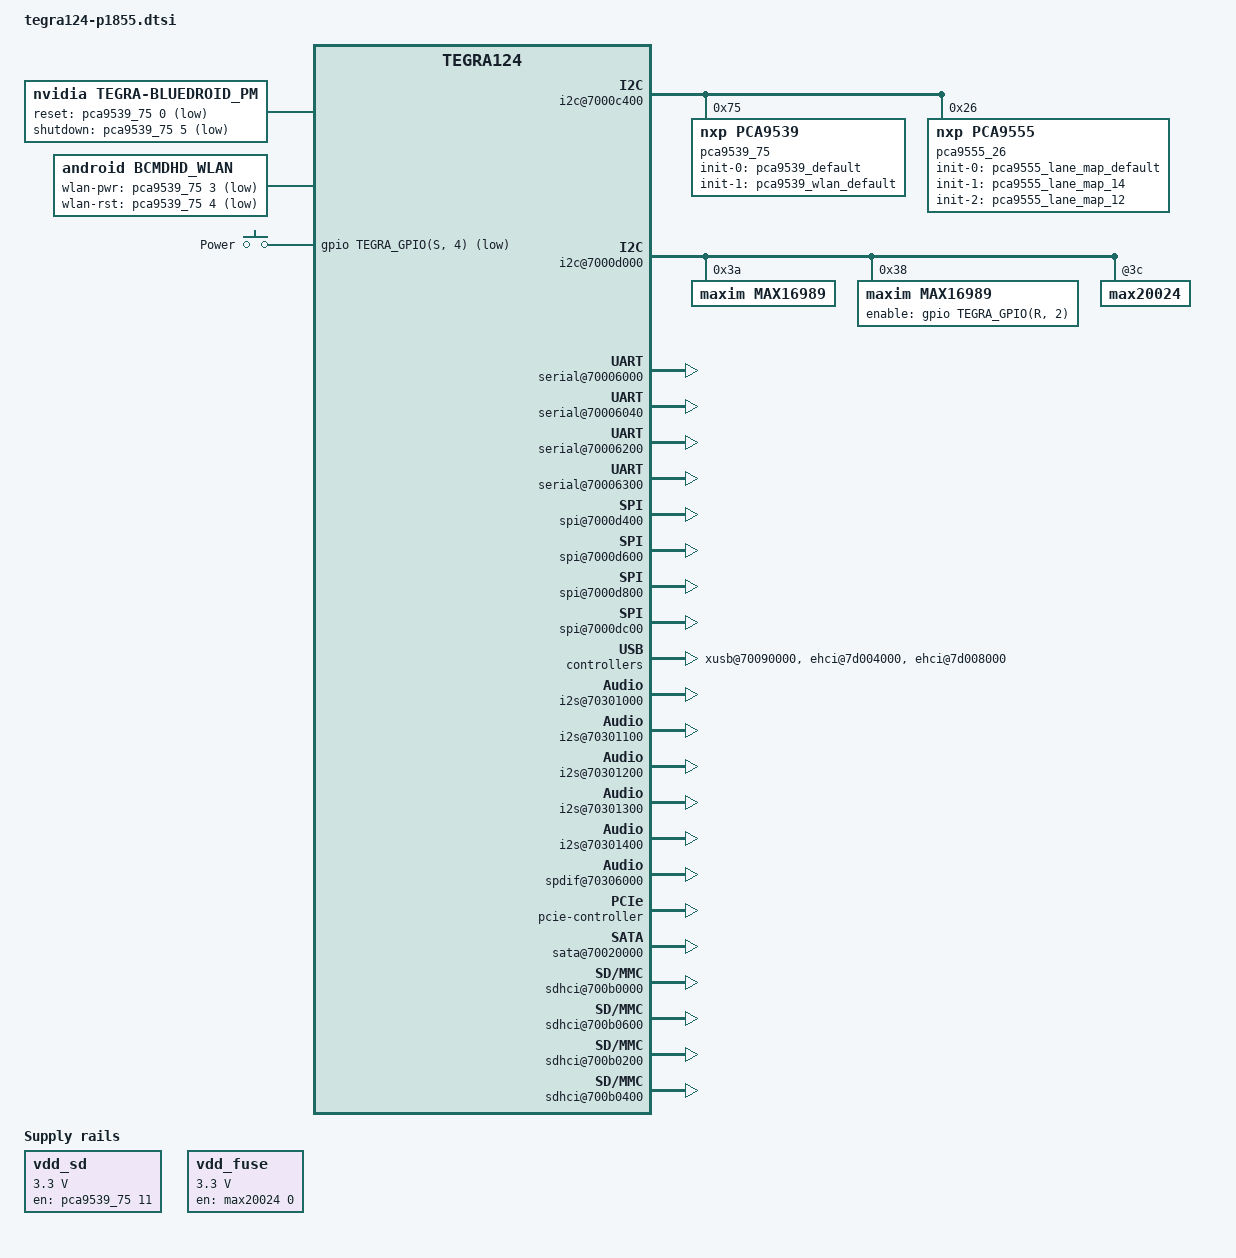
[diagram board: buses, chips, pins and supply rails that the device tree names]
/*
 * arch/arm/boot/dts/tegra124-p1855.dtsi
 *
 * Copyright (c) 2013-2015, NVIDIA CORPORATION.  All rights reserved.
 *
 * This program is free software; you can redistribute it and/or modify
 * it under the terms of the GNU General Public License as published by
 * the Free Software Foundation; version 2 of the License.
 *
 * This program is distributed in the hope that it will be useful, but WITHOUT
 * ANY WARRANTY; without even the implied warranty of MERCHANTABILITY or
 * FITNESS FOR A PARTICULAR PURPOSE.  See the GNU General Public License for
 * more details.
 *
 * You should have received a copy of the GNU General Public License along
 * with this program; if not, write to the Free Software Foundation, Inc.,
 * 51 Franklin Street, Fifth Floor, Boston, MA  02110-1301, USA.
 *
 */

#include "tegra124-vcm30_t124.dtsi"
#include <tegra124-platforms/tegra124-p1855-gpio-default.dtsi>
#include <panel-a-edp-1080p-14-0.dtsi>
#include <tegra124-platforms/tegra124-vcm30-t124-hdmi.dtsi>
#include <tegra124-platforms/tegra124-pmic-vcm30t124-max20024.dtsi>

/ {
	#address-cells = <2>;
	#size-cells = <2>;

	host1x {
		sor {
			status = "okay";
			panel-a-edp-1080p-14-0 {
				disp-default-out {
					nvidia,out-max-pixclk = <3367>;
					nvidia,dither = <TEGRA_DC_ORDERED_DITHER>;
					nvidia,out-depth = <0>; /* let EDID set */
				};
			};
		};

		dpaux {
			status = "okay";
		};

		/* tegradc.0 */
		dc@54200000 {
			nvidia,dc-flags = <TEGRA_DC_FLAG_ENABLED>;
			nvidia,emc-clk-rate = <204000000>;
			nvidia,fb-bpp = <32>; /* bits per pixel */
			nvidia,cmu-enable = <1>;
			status = "okay";
		};

		/* tegradc.1 */
		dc@54240000 {
			nvidia,emc-clk-rate = <300000000>;
			nvidia,fb-bpp = <32>; /* bits per pixel */
			status = "okay";
		};
	};

	i2c@7000c400 {
		nvidia,clock-always-on;

		pca9539_75: pca9546@75 {
			compatible = "nxp,pca9539";
			gpio-controller;
			#gpio-cells = <2>;
			reg = <0x75>;
			gpio-init-names = "default", "wlan-default";
			gpio-init-0 = <&pca9539_default>;
			gpio-init-1 = <&pca9539_wlan_default>;
			pca9539_default: default {
				gpio-output-low = <4>;
				gpio-output-high = <0 3 5 7 9 13 14 15>;
			};
			pca9539_wlan_default: wlan-default {
				gpio-output-high = <4>;
			};
		};
		/*######################################################################
		# IO-EXP pin #   E1855 usage          #  X4_X1 config  # X2_X1 config  #
		########################################################################
		# IO_0_0     #  PEX_CLKBUF1_OE1*      #  O/P HIGH      # O/P LOW       #
		# IO_0_1     #  PEX_CLKBUF1_OE6*      #  O/P LOW       # O/P HIGH      #
		# IO_0_2     #  PEX_CLKBUF1_PD_EN_R*  #  O/P HIGH      # O/P HIGH      #
		# IO_0_3     #  PEX_CLKBUF0_OE1       #  O/P LOW       # O/P HIGH      #
		# IO_0_4     #  PEX_CLKBUF0_OE6       #  O/P HIGH      # O/P LOW       #
		# IO_0_5     #  PEX_CLKBUF0_PD_EN_R   #  O/P HIGH      # O/P HIGH      #
		# IO_0_6     #  NC                    #  NA            # NA            #
		# IO_0_7     #  NC                    #  NA            # NA            #

		# IO_1_0     #  PEX0_USB_L1_MUX1_SEL  #  O/P LOW       # O/P HIGH      #
		# IO_1_1     #  PEX1_USB_L0_MUX2_SEL  #  O/P LOW       # O/P HIGH      #
		# IO_1_2     #  PEX01_L2_MUX3_SEL     #  O/P LOW       # O/P HIGH      #
		# IO_1_3     #  PEX0_L2_L3_MUX4_SEL   #  O/P LOW       # O/P HIGH      #
		# IO_1_4     #  NC                    #  NA            # NA            #
		# IO_1_5     #  NC                    #  NA            # NA            #
		# IO_1_6     #  NC                    #  NA            # NA            #
		# IO_1_7     #  NC                    #  NA            # NA            #
		######################################################################*/
		pca9555_26: pca9555@26 {
			compatible = "nxp,pca9555";
			gpio-controller;
			reg = <0x26>;
			gpio-init-names = "default", "pcie-lane-map_14", "pcie-lane-map_12";
			gpio-init-0 = <&pca9555_lane_map_default>;
			gpio-init-1 = <&pca9555_lane_map_14>;
			gpio-init-2 = <&pca9555_lane_map_12>;
			pca9555_lane_map_default: default {
				status = "okay";
				gpio-output-low = <0 1 2 3 4 5 6 7 8 9 10 11 12 13 14 15>;
			};
			pca9555_lane_map_14: pcie-lane-map_14 {
				status = "disabled";
				gpio-output-high = <0 2 4 5>;
			};
			pca9555_lane_map_12: pcie-lane-map_12 {
				status = "disabled";
				gpio-output-high = <1 2 3 5 8 9 10 11>;
			};
		};
	};

	i2c@7000d000 {
		status = "okay";

		max16989@3a {
			compatible = "maxim,max16989";
			reg = <0x3a>;
			regulator-name = "max16989-vdd-cpu";
			regulator-min-microvolt = <500000>;
			regulator-max-microvolt = <1500000>;
			consumers {
				c1 {
					regulator-consumer-supply = "vdd_cpu";
				};
			};
		};

		max16989@38 {
			compatible = "maxim,max16989";
			reg = <0x38>;
			regulator-name = "max16989-vdd-gpu";
			regulator-min-microvolt = <500000>;
			regulator-max-microvolt = <1500000>;
			maxim,enable-gpio = <&gpio TEGRA_GPIO(R, 2) 0>;
			regulator-enable-ramp-delay = <210>;
			consumers {
				c1 {
					regulator-consumer-supply = "vdd_gpu";
				};
			};
		};

		max20024@3c {
			regulators {
				ldo5 {
					status = "okay";
				};
			};
		};

	};

	regulators {
		compatible = "simple-bus";
		device_type = "fixed-regulators";
		#address-cells = <1>;
		#size-cells = <0>;

		vdd_sd: regulator@1 {
			compatible = "regulator-fixed-sync";
			regulator-name = "vddio_sd_slot-reg";
			regulator-min-microvolt = <3300000>;
			regulator-max-microvolt = <3300000>;
			gpio = <&pca9539_75 11 1>;
			enable-active-high;
		};

		vdd_fuse: regulator@2 {
			compatible = "regulator-fixed-sync";
			regulator-name = "vdd_fuse";
			regulator-min-microvolt = <3300000>;
			regulator-max-microvolt = <3300000>;
			gpio = <&max20024 0 0>;
			enable-active-high;
		};
	};

	/* Populate fuse supply */
	efuse@7000f800 {
		vpp_fuse-supply = <&vdd_fuse>;
	};

	serial@70006000 {
		status = "okay";
	};

	serial@70006040 {
		status = "okay";
	};

	serial@70006200 {
		compatible = "nvidia,tegra20-uart";
		console-port;
		status = "okay";
	};

	serial@70006300 {
		status = "okay";
	};

	spi@7000d400 {
		status = "okay";
		compatible = "nvidia,tegra124-spi-slave";
		nvidia,rx-trigger-words = <0>;
		nvidia,clk-pin = "gpio_x5_aud_px5";
	};

	spi@7000d600 {
		status = "okay";
	};

	spi@7000d800 {
		status = "okay";
	};

	spi@7000dc00 {
		status = "okay";
	};

	xusb@70090000 {
		status = "okay";
		nvidia,lane_owner = <0x0>; /* PCIE-0, PCE-1 and SATA */
	};

	ahub {
		status = "okay";

		i2s@70301000 {
			status = "okay";
		};
		i2s@70301100 {
			status = "okay";
		};
		i2s@70301200 {
			fsync-width = <0>;
			status = "okay";
		};
		i2s@70301300 {
			status = "okay";
		};
		i2s@70301400 {
			status = "okay";
		};
		spdif@70306000 {
			status = "okay";
		};
		amx@70303000 {
			status = "okay";
		};
		adx@70303800 {
			status = "okay";
		};
		amx@70303100 {
			status = "okay";
		};
		adx@70303900 {
			status = "okay";
		};
		dam@70302000 {
			status = "okay";
		};
		dam@70302200 {
			status = "okay";
		};
		dam@70302400 {
			status = "okay";
		};
		afc@70307000 {
			status = "okay";
		};
		afc@70307100 {
			status = "okay";
		};
		afc@70307200 {
			status = "okay";
		};
		afc@70307300 {
			status = "okay";
		};
		afc@70307400 {
			status = "okay";
		};
		afc@70307500 {
			status = "okay";
		};
	};

	pcie-controller {
		status = "okay";
		nvidia,lane-map = <0x14>;

		pci@1,0 {
			status = "okay";
		};

		pci@2,0 {
			status = "okay";
		};
	};

	sata@70020000 {
		status = "okay";
	};

	sdhci@700b0000 {
		nvidia,update-pinctrl-settings;
		pinctrl-names = "default_mode", "uhs_sdr50_mode", "uhs_sdr104_mode";
		status = "okay";
	};

	sdhci@700b0600 {
		pwr-off-during-lp0 = <1>;
		status = "okay";
	};

	sdhci@700b0200 {
		pwr-off-during-lp0 = <1>;
		status = "okay";
	};

	sdhci@700b0400 {
		vddio_sd_slot-supply = <&vdd_sd>;
		nvidia,update-pinctrl-settings;
		pinctrl-names = "default_mode", "uhs_sdr50_mode", "uhs_sdr104_mode";
		vddio_sdmmc-supply = <&max20024_ldo5>;
		status = "okay";
	};

	snor {
		status = "okay";
	};

	ehci@7d000000 {
		nvidia,is-intf-utmi;
		status = "disabled";
	};

	ehci@7d004000 {
		nvidia,is-intf-hsic;
		nvidia,unaligned-dma-buf-supported;
		status = "okay";
	};

	ehci@7d008000 {
		nvidia,is-intf-hsic;
		nvidia,unaligned-dma-buf-supported;
		status = "okay";
	};

	bluedroid_pm {
		compatible = "nvidia,tegra-bluedroid_pm";
		id = <0>;
		bluedroid_pm,reset-gpio = <&pca9539_75 0 1>;
		bluedroid_pm,shutdown-gpio = <&pca9539_75 5 1>;
		status = "okay";
	};
	bcmdhd_wlan {
		compatible = "android,bcmdhd_wlan";
		wlan-pwr-gpio = <&pca9539_75 3 1>;
		wlan-rst-gpio = <&pca9539_75 4 1>;
		status = "okay";
	};

	cpu_dfll_pmic_integration {
		pmic-i2c-address = <0x74>;
		pmic-i2c-voltage-register = <0x07>;
		i2c-fs-rate = <400000>;
		sel-conversion-slope = <1>;
	};

	gpio-keys {
		compatible = "gpio-keys";
		gpio_sys_12 {
			label = "Power";
			linux,code = <KEY_POWER>;
			gpios = <&gpio TEGRA_GPIO(S, 4) GPIO_ACTIVE_LOW>;
			gpio-key,wakeup;
		};
	};
};
